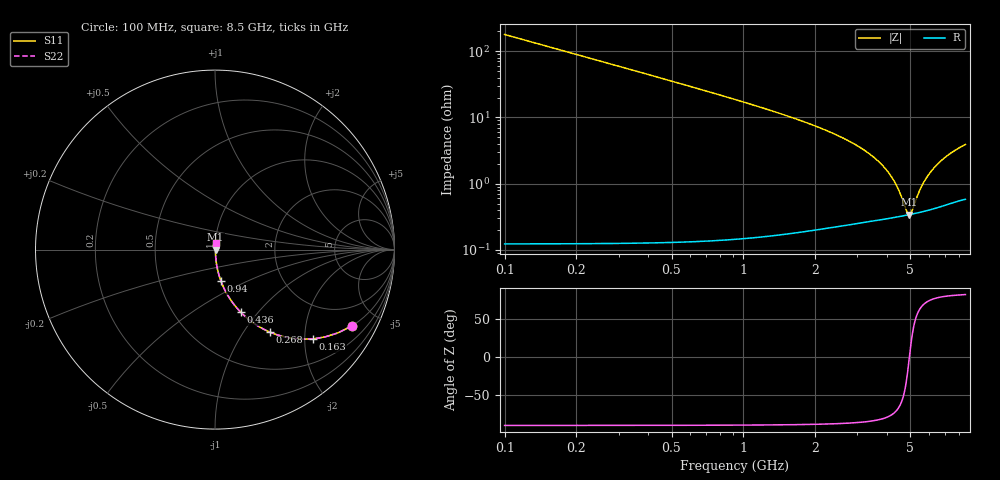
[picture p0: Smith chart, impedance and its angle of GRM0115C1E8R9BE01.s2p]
!Murata Part Number: GRM0115C1E8R9BE01
!These Parameters are Measured in Series Mode Connection
!Data Generated on Mar 30, 2021
!  o--ll--o
!Port1  Port2
!  o------o
!Operation Temp=25[degC], DC Bias Voltage=0[V]
!Freq. Start=100[MHz] Stop=9[GHz] 401[Steps]
# Hz S RI R 50
!Freq.(Hz) S11(Real) S11(Imag) S21(Real) S21(Imag) S12(Real) S12(Imag) S22(Real) S22(Imag)
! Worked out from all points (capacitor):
!   401 points, 100 MHz to 8.5 GHz, reference 50 ohm
!   read as one part in series: C = 8.9 pF near 142 MHz
!   lowest |Z| = 341 mohm at 4.951 GHz (marker M1)
!   series resonance near 4.955 GHz, so ESL is about 120 pH
!   S11 on the Smith chart (normalised r, x): 100 MHz: 1.00, -3.57; 163 MHz: 1.00, -2.19; 268 MHz: 1.00, -1.33; 436 MHz: 1.00, -0.81; 940 MHz: 1.00, -0.37; 8.5 GHz: 1.01, +0.08
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1e8  0.7615 -0.4258  0.2385 0.4258  0.2385 0.4258  0.7615 -0.4258
1.63e8  0.5456 -0.4974  0.4544 0.4974  0.4544 0.4974  0.5456 -0.4974
2.05e8  0.4313 -0.4945  0.5687 0.4945  0.5687 0.4945  0.4313 -0.4945
2.68e8  0.3071 -0.4603  0.6929 0.4603  0.6929 0.4603  0.3071 -0.4603
3.52e8  0.204 -0.4017  0.796 0.4017  0.796 0.4017  0.204 -0.4017
4.36e8  0.1427 -0.3482  0.8573 0.3482  0.8573 0.3482  0.1427 -0.3482
6.25e8  0.0744 -0.26  0.9256 0.26  0.9256 0.26  0.0744 -0.26
9.4e8  0.0337 -0.1765  0.9663 0.1765  0.9663 0.1765  0.0337 -0.1765
1.507e9  0.013 -0.1055  0.987 0.1055  0.987 0.1055  0.013 -0.1055
2.914e9  0.00402 -0.0394  0.996 0.0394  0.996 0.0394  0.00402 -0.0394
3.733e9  0.00325 -0.0203  0.9968 0.0203  0.9968 0.0203  0.00325 -0.0203
4.048e9  0.00318 -0.0144  0.9968 0.0144  0.9968 0.0144  0.00318 -0.0144
4.3e9  0.00319 -0.01  0.9968 0.01  0.9968 0.01  0.00319 -0.01
4.51e9  0.00323 -0.00665  0.9968 0.00665  0.9968 0.00665  0.00323 -0.00665
4.825e9  0.00334 -0.00188  0.9967 0.00188  0.9967 0.00188  0.00334 -0.00188
4.951e9  0.0034 -6.2e-05  0.9966 6.2e-05  0.9966 6.2e-05  0.0034 -6.2e-05
5.056e9  0.00346 0.00141  0.9965 -0.00141  0.9965 -0.00141  0.00346 0.00141
5.413e9  0.00368 0.00621  0.9963 -0.00621  0.9963 -0.00621  0.00368 0.00621
5.707e9  0.00391 0.00993  0.9961 -0.00993  0.9961 -0.00993  0.00391 0.00993
6.295e9  0.00448 0.0169  0.9955 -0.0169  0.9955 -0.0169  0.00448 0.0169
7.114e9  0.00546 0.0255  0.9945 -0.0255  0.9945 -0.0255  0.00546 0.0255
8.5e9  0.00725 0.0382  0.9927 -0.0382  0.9927 -0.0382  0.00725 0.0382
